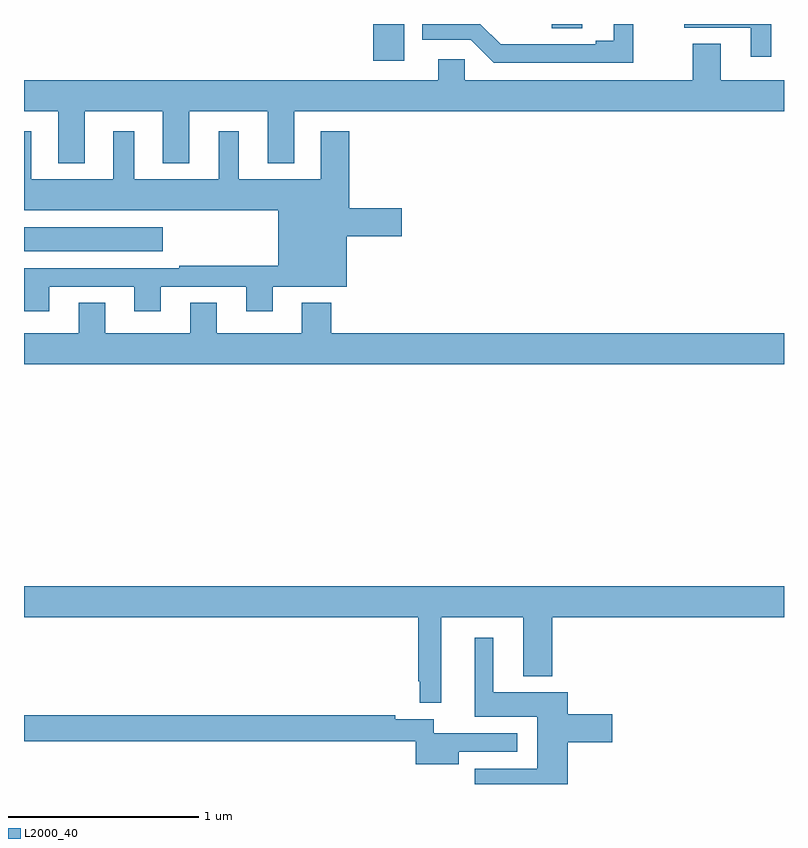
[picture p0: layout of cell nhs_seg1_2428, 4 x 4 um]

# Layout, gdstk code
import gdstk
lib = gdstk.Library(unit=1e-6, precision=1e-09)
def R(c, l, rs):  # rectangles x0, y0, x1, y1
    for r in rs: c.add(gdstk.rectangle(r[:2], r[2:], *l))
def P(c, l, *ps):  # polygons
    for p in ps: c.add(gdstk.Polygon(p, *l))
L2000_40 = (2000, 40)

nhs_seg1_2428 = lib.new_cell('nhs_seg1_2428')
R(nhs_seg1_2428, L2000_40, [(243,543.002,243.73,543.13), (244.838,544.005,245.002,544.199), (245.778,544.177,245.938,544.199)])
P(nhs_seg1_2428, L2000_40, [(246.934,544.199),(246.475,544.199),(246.475,544.179),(246.824,544.179),(246.824,544.026),(246.934,544.026)],
  [(246.206,544.199),(246.104,544.199),(246.104,544.112),(246.008,544.112),(246.008,544.092),(245.508,544.092),(245.401,544.199),(245.097,544.199),(245.097,544.116),(245.352,544.116),(245.472,543.996),(246.206,543.996)],
  [(247,543.904),(246.667,543.904),(246.667,544.094),(246.52,544.094),(246.52,543.904),(245.319,543.904),(245.319,544.014),(245.18,544.014),(245.18,543.904),(243,543.904),(243,543.74),(243.179,543.74),(243.179,543.467),(243.319,543.467),(243.319,543.74),(243.731,543.74),(243.731,543.467),(243.871,543.467),(243.871,543.74),(244.283,543.74),(244.283,543.467),(244.423,543.467),(244.423,543.74),(247,543.74)],
  [(243.133,542.817),(243.581,542.817),(243.581,542.688),(243.721,542.688),(243.721,542.817),(244.169,542.817),(244.169,542.688),(244.309,542.688),(244.309,542.816),(244.699,542.816),(244.699,543.083),(244.987,543.083),(244.987,543.23),(244.712,543.23),(244.712,543.634),(244.562,543.634),(244.562,543.382),(244.129,543.382),(244.129,543.634),(244.025,543.634),(244.025,543.382),(243.58,543.382),(243.58,543.634),(243.47,543.634),(243.47,543.382),(243.037,543.382),(243.037,543.634),(243,543.634),(243,543.218),(244.337,543.218),(244.337,542.926),(243.817,542.926),(243.817,542.913),(243,542.913),(243,542.688),(243.133,542.688)],
  [(247,542.572),(244.616,542.572),(244.616,542.731),(244.463,542.731),(244.463,542.572),(244.015,542.572),(244.015,542.732),(243.875,542.732),(243.875,542.572),(243.427,542.572),(243.427,542.732),(243.287,542.732),(243.287,542.572),(243,542.572),(243,542.408),(247,542.408)],
  [(245.197,541.076),(245.627,541.076),(245.627,540.767),(245.78,540.767),(245.78,541.076),(247,541.076),(247,541.24),(243,541.24),(243,541.076),(245.076,541.076),(245.076,540.739),(245.084,540.739),(245.084,540.627),(245.197,540.627)],
  [(245.861,540.419),(246.097,540.419),(246.097,540.566),(245.861,540.566),(245.861,540.682),(245.47,540.682),(245.47,540.97),(245.372,540.97),(245.372,540.554),(245.702,540.554),(245.702,540.279),(245.372,540.279),(245.372,540.199),(245.861,540.199)],
  [(245.287,540.369),(245.596,540.369),(245.596,540.465),(245.157,540.465),(245.157,540.54),(244.954,540.54),(244.954,540.56),(243,540.56),(243,540.424),(245.061,540.424),(245.061,540.302),(245.287,540.302)])

lib.write_gds('nhs_seg1_2428.gds')
